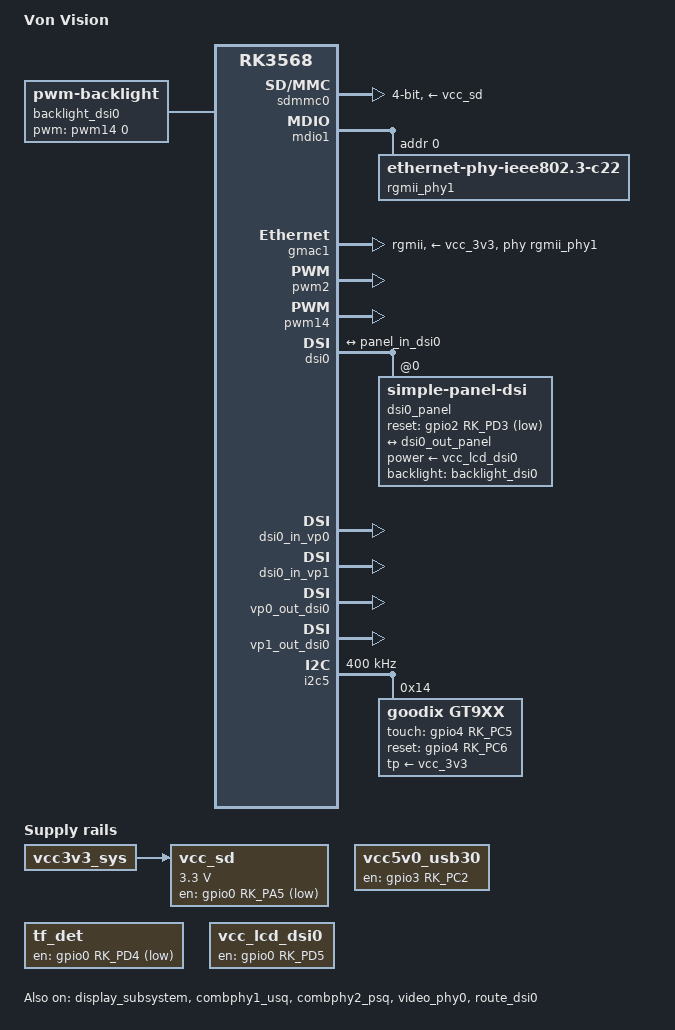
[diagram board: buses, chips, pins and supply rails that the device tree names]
// SPDX-License-Identifier: (GPL-2.0+ OR MIT)
/*
 * Copyright (c) 2020 Rockchip Electronics Co., Ltd.
 * 
 *
 */

/dts-v1/;

#include "rk3566-von.dtsi"
#include "rk3566-von-cameras.dtsi"

/ {
	model = "Von Vision";
	compatible = "von,von", "rockchip,rk3566";

	hdmi_sound: hdmi-sound {
		compatible = "simple-audio-card";
		simple-audio-card,format = "i2s";
		simple-audio-card,mclk-fs = <128>;
		simple-audio-card,name = "rockchip,hdmi";

		simple-audio-card,cpu {
				sound-dai = <&i2s0_8ch>;
		};
		simple-audio-card,codec {
				sound-dai = <&hdmi>;
		};
	};

	vcc5v0_usb30: vcc5v0-usb30-regulator {
		compatible = "regulator-fixed";
		enable-active-high;
		gpio = <&gpio3 RK_PC2 GPIO_ACTIVE_HIGH>;
		pinctrl-names = "default";
		pinctrl-0 = <&vcc5v0_usb30_en>;
		regulator-name = "vcc5v0_usb30";
		regulator-always-on;
		regulator-boot-on;
		reg-fixed-voltage = <5000000>;
	};

	vcc_sd: sdmmc-regulator {
		compatible = "regulator-fixed";
		gpio = <&gpio0 RK_PA5 GPIO_ACTIVE_LOW>;
		pinctrl-names = "default";
		pinctrl-0 = <&sdmmc_pwren>;
		regulator-name = "vcc_sd";
		regulator-min-microvolt = <3300000>;
		regulator-max-microvolt = <3300000>;
		startup-delay-us = <100000>;
		vin-supply = <&vcc3v3_sys>;
	};

	tf_det: tf-det-regulator {
		compatible = "regulator-fixed";
		enable-active-low;
		gpio = <&gpio0 RK_PD4 GPIO_ACTIVE_LOW>;
		pinctrl-names = "default";
		pinctrl-0 = <&tf_det_en>;
		regulator-name = "tf_det";
		regulator-always-on;
		regulator-boot-on;
	};
};

&gpio_leds {
	pi-led-green {
		gpios = <&gpio4 4 GPIO_ACTIVE_LOW>;
		linux,default-trigger = "heartbeat";
		default-state = "on";
		pinctrl-0 = <&pi_led>;
	};

	pwr-led-red {
		gpios = <&gpio4 15 GPIO_ACTIVE_LOW>;
		linux,default-trigger = "none";
		default-state = "on";
		pinctrl-0 = <&pwr_led>;
	};
};

&i2s0_8ch {
	status = "disabled";
};

&display_subsystem {
    status = "okay";
};

&hdmi {
	status = "disabled";
};

&hdmi_in_vp0 {
	status = "disabled";
};

&hdmi_in_vp1 {
	status = "disabled";
};

&hdmi_sound {
	status = "disabled";
};

&route_hdmi {
	status = "disabled";
	connect = <&vp0_out_hdmi>;
};

&sdmmc0 {
	max-frequency = <150000000>;
	supports-sd;
	bus-width = <4>;
	cap-mmc-highspeed;
	cap-sd-highspeed;
	disable-wp;
	vmmc-supply = <&vcc_sd>;
	vqmmc-supply = <&vccio_sd>;
	pinctrl-names = "default";
	pinctrl-0 = <&sdmmc0_bus4 &sdmmc0_clk &sdmmc0_cmd &sdmmc0_det>;
	status = "okay";
};



&usbhost_dwc3 {
	status = "disabled";
};

&usbhost30 {
	status = "disabled";
};

&combphy1_usq {
	status = "okay";
};

&combphy2_psq {
	status = "okay";
};


&pinctrl {
	usb {
		vcc5v0_usb30_en: vcc5v0-host-en {
			rockchip,pins = <3 RK_PC2 RK_FUNC_GPIO &pcfg_pull_none>;
		};
	};

	headphone {
		hp_det: hp-det {
			rockchip,pins = <4 RK_PC5 RK_FUNC_GPIO &pcfg_pull_up>;
		};
	};

	leds {
		pi_led: pi-led{
			rockchip,pins = <4 RK_PA4 RK_FUNC_GPIO &pcfg_pull_none>;
		};

		pwr_led: pwr-led{
			rockchip,pins = <4 RK_PB7 RK_FUNC_GPIO &pcfg_pull_none>;
		};

		sata1_led: sata1-led{
			rockchip,pins = <0 RK_PC2 RK_FUNC_GPIO &pcfg_pull_none>;
		};

		sata2_led: sata2-led{
			rockchip,pins = <4 RK_PC0 RK_FUNC_GPIO &pcfg_pull_none>;
		};
	};

	sdcard {
		sdmmc_pwren: sdmmc-pwren {
			rockchip,pins = <0 RK_PA5 RK_FUNC_GPIO &pcfg_pull_none>;
		};

		tf_det_en: tf-det-en {
			rockchip,pins = <0 RK_PD4 RK_FUNC_GPIO &pcfg_output_low>;
		};
	};

	ch482d {
		//pcie2.0 --> sata1
		ch482d_en1: ch482d-en1 {
			rockchip,pins = <3 RK_PC6 RK_FUNC_GPIO &pcfg_pull_none>;
		};
		//usb3.0 --> sata2
		ch482d_en2: ch482d-en2 {
			rockchip,pins = <3 RK_PC7 RK_FUNC_GPIO &pcfg_pull_none>;
		};
	};



		
};




&mdio1 {
        rgmii_phy1: phy@0 {
                compatible = "ethernet-phy-ieee802.3-c22";
                reg = <0x0>;
        };
};

&gmac1 {
	phy-mode = "rgmii";
	clock_in_out = "input";
	
	
	/* Reset time is 20ms, 100ms for rtl8211f */
	snps,reset-delays-us = <0 20000 100000>;
	
	assigned-clocks = <&cru SCLK_GMAC1_RX_TX>, <&cru SCLK_GMAC1_RGMII_SPEED>, <&cru SCLK_GMAC1>;
	assigned-clock-parents = <&cru SCLK_GMAC1_RGMII_SPEED>, <&cru SCLK_GMAC1>, <&gmac1_clkin>;
	
	
	pinctrl-names = "default";
	pinctrl-0 = <&gmac1m1_miim
		     &gmac1m1_tx_bus2
		     &gmac1m1_rx_bus2
		     &gmac1m1_rgmii_clk
		     &gmac1m1_clkinout
		     &gmac1m1_rgmii_bus>;
	
	tx_delay = <0x00>;
	rx_delay = <0x00>;
	
	phy-handle = <&rgmii_phy1>;
	phy-supply = <&vcc_3v3>;
	status = "okay";
};

&pcie2x1 {
	pinctrl-names = "default";
	reset-gpios = <&gpio1 RK_PB2 GPIO_ACTIVE_HIGH>;
	status = "disabled";

};
&sata2 {

	status = "disabled";
//	status = "okay";
};

	

/ {
	compatible = "von", "rockchip,rk3568";

	vcc_lcd_dsi0: vcc-lcd-dsi0 {
		status = "okay";
		compatible = "regulator-fixed";
		regulator-name = "vcc_lcd_mipi1";
		gpio = <&gpio0 RK_PD5 GPIO_ACTIVE_HIGH>;
		enable-active-high;
		regulator-boot-on;
		regulator-state-mem {
			regulator-off-in-suspend;
		};
	};

	backlight_dsi0: backlight-dsi0 {
		status = "okay";
		compatible = "pwm-backlight";
		pwms = <&pwm14 0 25000 0>;
		brightness-levels = <
			  0  20  20  21  21  22  22  23
			 23  24  24  25  25  26  26  27
			 27  28  28  29  29  30  30  31
			 31  32  32  33  33  34  34  35
			 35  36  36  37  37  38  38  39
			 40  41  42  43  44  45  46  47
			 48  49  50  51  52  53  54  55
			 56  57  58  59  60  61  62  63
			 64  65  66  67  68  69  70  71
			 72  73  74  75  76  77  78  79
			 80  81  82  83  84  85  86  87
			 88  89  90  91  92  93  94  95
			 96  97  98  99 100 101 102 103
			104 105 106 107 108 109 110 111
			112 113 114 115 116 117 118 119
			120 121 122 123 124 125 126 127
			128 129 130 131 132 133 134 135
			136 137 138 139 140 141 142 143
			144 145 146 147 148 149 150 151
			152 153 154 155 156 157 158 159
			160 161 162 163 164 165 166 167
			168 169 170 171 172 173 174 175
			176 177 178 179 180 181 182 183
			184 185 186 187 188 189 190 191
			192 193 194 195 196 197 198 199
			200 201 202 203 204 205 206 207
			208 209 210 211 212 213 214 215
			216 217 218 219 220 221 222 223
			224 225 226 227 228 229 230 231
			232 233 234 235 236 237 238 239
			240 241 242 243 244 245 246 247
			248 249 250 251 252 253 254 255
		>;
		default-brightness-level = <255>;
	};
};

&pwm2 {
	status = "okay";
};
&pwm14 {
	status = "okay";
};

&dsi0 {
	status = "okay";

	dsi0_panel: panel@0 {
		status = "okay";
		compatible = "simple-panel-dsi";
		reg = <0>;
		backlight = <&backlight_dsi0>;

		power-supply = <&vcc_lcd_dsi0>;
		reset-gpios = <&gpio2 RK_PD3 GPIO_ACTIVE_LOW>;
		pinctrl-names = "default";
		pinctrl-0 = <&dsi0_lcd_rst_gpio>;

		

	        enable-delay-ms = <120>;
	        prepare-delay-ms = <120>;
	        reset-delay-ms = <120>;
	        init-delay-ms = <120>;
	        unprepare-delay-ms = <120>;
	        disable-delay-ms = <120>;
	        stbyb-delay-ms = <120>;
	    
	
	        size,width = <229>;
	        size,height = <143>;
	        dsi,flags = <(MIPI_DSI_MODE_VIDEO | MIPI_DSI_MODE_VIDEO_BURST | MIPI_DSI_MODE_LPM | MIPI_DSI_MODE_EOT_PACKET)>;
	        dsi,format = <MIPI_DSI_FMT_RGB888>;
	        dsi,lanes  = <4>;

		
		 panel-init-sequence = [
		           15 00 02 80 AC
		           15 00 02 81 B8
		           15 00 02 82 09
		           15 00 02 83 78
		           15 00 02 84 7F
		           15 00 02 85 BB
		           15 00 02 86 70
		           05 78 01 11
		           05 1E 01 29
		        ];
		
		        panel-exit-sequence = [
		            05 00 01 28
		            05 00 01 10
		        ];
		
		

		display_timings0: display-timings {
			native-mode = <&dsi1_timing0>;

			dsi1_timing0: timing0 {
				clock-frequency = <80000000>;//<80000000>;
		                hactive = <1024>;//<768>;
		                vactive = <600>;
		                 
		                hfront-porch = <160>;
		                hsync-len = <10>;
		                hback-porch = <160>;
		 
		                vfront-porch = <12>;
		                vsync-len = <1>;
		                vback-porch = <23>;
		 
		                hsync-active = <10>;
		                vsync-active = <10>;
		                de-active = <0>;
              		        pixelclk-active = <1>;

			};
		};

		ports {
			#address-cells = <1>;
			#size-cells = <0>;

			port@0 {
				reg = <0>;
				panel_in_dsi0: endpoint {
					remote-endpoint = <&dsi0_out_panel>;
				};
			};
		};
	};

	ports {
		#address-cells = <1>;
		#size-cells = <0>;

		port@1 {
			reg = <1>;
			dsi0_out_panel: endpoint {
				remote-endpoint = <&panel_in_dsi0>;
			};
		};
	};
};

&video_phy0 {
		status = "okay";
};

&dsi0_in_vp0 {
		status = "okay";
};

&dsi0_in_vp1 {
		status = "okay";
};

&vp0_out_dsi0 {
		status = "okay";
};

&vp1_out_dsi0 {
		status = "okay";
};

&route_dsi0 {
		status = "okay";
	connect = <&vp1_out_dsi0>;
};

&pinctrl {

	dsi0-lcd {
		dsi0_lcd_rst_gpio: dsi0-lcd-rst-gpio {
			rockchip,pins = <2 RK_PD3 RK_FUNC_GPIO &pcfg_pull_up>;
		};
	};

	gt9xx {
		gt9xx_gpio: gt9xx-gpio {
			rockchip,pins = <4 RK_PC5 RK_FUNC_GPIO &pcfg_pull_up>,
					<4 RK_PC6 RK_FUNC_GPIO &pcfg_pull_none>;
		};
	};
};
&i2c5 {
	status = "okay";
	pinctrl-names = "default";
	pinctrl-0 = <&i2c5m1_xfer>;
	clock-frequency = <400000>;
	i2c-scl-rising-time-ns = <138>;
	i2c-scl-falling-time-ns = <4>;

	gt9xx: gt9xx@14 {
		compatible = "goodix,gt9xx";
		reg = <0x14>;
		pinctrl-names = "default";
		pinctrl-0 = <&gt9xx_gpio>;
		touch-gpio = <&gpio4 RK_PC5 IRQ_TYPE_LEVEL_HIGH>;
		reset-gpio = <&gpio4 RK_PC6 GPIO_ACTIVE_HIGH>;
		max-x = <1024>;
		max-y = <600>;
		tp-size = <911>;
		tp-supply = <&vcc_3v3>;
	};
};


